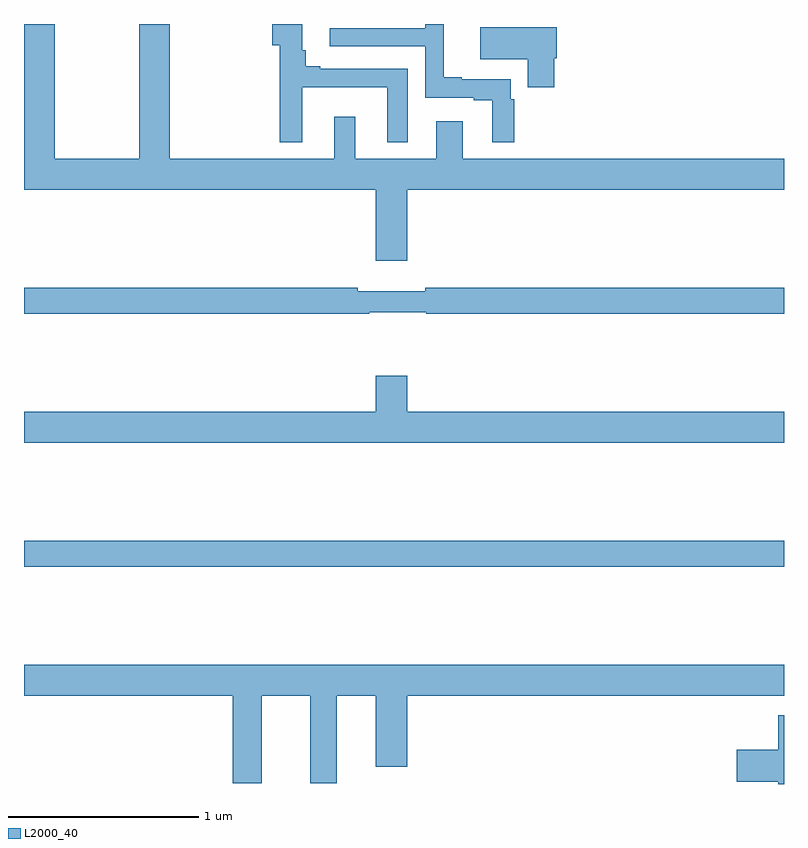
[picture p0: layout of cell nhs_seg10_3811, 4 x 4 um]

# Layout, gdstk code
import gdstk
lib = gdstk.Library(unit=1e-6, precision=1e-09)
def R(c, l, rs):  # rectangles x0, y0, x1, y1
    for r in rs: c.add(gdstk.rectangle(r[:2], r[2:], *l))
def P(c, l, *ps):  # polygons
    for p in ps: c.add(gdstk.Polygon(p, *l))
L2000_40 = (2000, 40)

nhs_seg10_3811 = lib.new_cell('nhs_seg10_3811')
R(nhs_seg10_3811, L2000_40, [(319,1319.644,323,1319.78)])
P(nhs_seg10_3811, L2000_40, [(320.743,1322.011),(320.633,1322.011),(320.633,1321.792),(319.766,1321.792),(319.766,1322.5),(319.606,1322.5),(319.606,1321.792),(319.161,1321.792),(319.161,1322.5),(319.001,1322.5),(319.001,1321.792),(319,1321.792),(319,1321.628),(320.852,1321.628),(320.852,1321.254),(321.016,1321.254),(321.016,1321.628),(323,1321.628),(323,1321.792),(321.31,1321.792),(321.31,1321.987),(321.17,1321.987),(321.17,1321.792),(320.743,1321.792)],
  [(320.464,1322.168),(320.912,1322.168),(320.912,1321.877),(321.019,1321.877),(321.019,1322.265),(320.56,1322.265),(320.56,1322.278),(320.482,1322.278),(320.482,1322.362),(320.464,1322.362),(320.464,1322.5),(320.306,1322.5),(320.306,1322.387),(320.346,1322.387),(320.346,1321.877),(320.464,1321.877)],
  [(321.581,1322.105),(321.561,1322.105),(321.561,1322.208),(321.304,1322.208),(321.304,1322.221),(321.209,1322.221),(321.209,1322.5),(321.111,1322.5),(321.111,1322.478),(320.61,1322.478),(320.61,1322.382),(321.111,1322.382),(321.111,1322.112),(321.368,1322.112),(321.368,1322.1),(321.464,1322.1),(321.464,1321.877),(321.581,1321.877)],
  [(321.791,1322.319),(321.803,1322.319),(321.803,1322.482),(321.402,1322.482),(321.402,1322.315),(321.65,1322.315),(321.65,1322.166),(321.791,1322.166)],
  [(320.816,1320.984),(321.116,1320.984),(321.116,1320.976),(323,1320.976),(323,1321.112),(321.112,1321.112),(321.112,1321.093),(320.756,1321.093),(320.756,1321.112),(319,1321.112),(319,1320.976),(320.816,1320.976)],
  [(323,1320.46),(321.016,1320.46),(321.016,1320.649),(320.852,1320.649),(320.852,1320.46),(319,1320.46),(319,1320.296),(323,1320.296)],
  [(320.251,1318.964),(320.507,1318.964),(320.507,1318.503),(320.647,1318.503),(320.647,1318.964),(320.852,1318.964),(320.852,1318.59),(321.016,1318.59),(321.016,1318.964),(323,1318.964),(323,1319.128),(319,1319.128),(319,1318.964),(320.099,1318.964),(320.099,1318.503),(320.251,1318.503)],
  [(323,1318.861),(322.97,1318.861),(322.97,1318.681),(322.752,1318.681),(322.752,1318.511),(322.97,1318.511),(322.97,1318.5),(323,1318.5)])

lib.write_gds('nhs_seg10_3811.gds')
